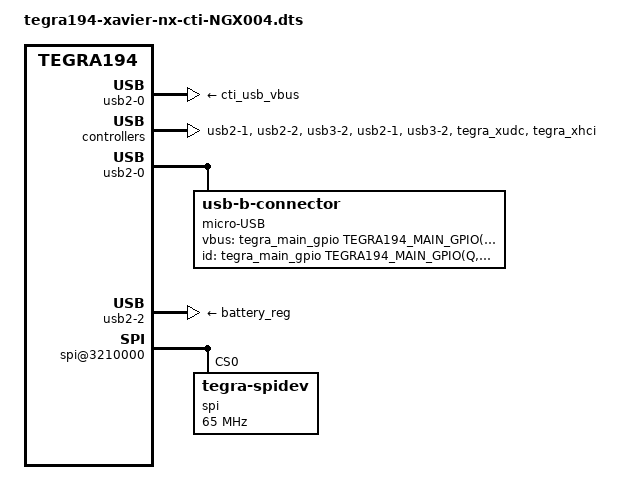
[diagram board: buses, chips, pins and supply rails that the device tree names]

/dts-v1/;
#include "tegra194-xavier-nx-cti-base.dtsi"

/ {
	nvidia,dtsfilename = "tegra194-xavier-nx-cti-NGX004.dts";
	
	
	xusb_padctl@3520000 {
		pads {
			usb2 {
				lanes {
					usb2-0 {
						nvidia,function = "xusb";
						vbus-supply = <&cti_usb_vbus>;
						status = "okay";
					};
					usb2-1 {
						nvidia,function = "xusb";
						status = "okay";
					};
					usb2-2 {
						nvidia,function = "xusb";
						status = "okay";
					};
				};
			};
			usb3 {
				lanes {
					usb3-2 {
						nvidia,function = "xusb";
						status = "okay";
					};
				};
			};
		};
		ports {
			usb2-0 {
				mode = "otg";
				status = "okay";
				usb-role-switch;
				connector {
					compatible = "usb-b-connector", "gpio-usb-b-connector";
		            label = "micro-USB";
                    type = "micro";
                    vbus-gpios = <&tegra_main_gpio TEGRA194_MAIN_GPIO(Z, 1) GPIO_ACTIVE_HIGH>;
					id-gpios = <&tegra_main_gpio TEGRA194_MAIN_GPIO(Q, 1) GPIO_ACTIVE_HIGH>;
				};
			};
			usb2-1 {
				mode = "host";
				status = "okay";
			};
			usb2-2 {
				mode = "host";
				vbus-supply = <&battery_reg>;
				status = "okay";
			};
			usb3-2 {
				nvidia,usb2-companion = <0>;
				status = "okay";
			};
		};
	};
		tegra_xudc: xudc@3550000 {
		phys = <&{/xusb_padctl@3520000/pads/usb2/lanes/usb2-0}>,
				<&{/xusb_padctl@3520000/pads/usb3/lanes/usb3-2}>;
		phy-names = "usb2-0", "usb3-2";
		nvidia,xusb-padctl = <&xusb_padctl>;
		nvidia,boost_cpu_freq = <1200>;
		status = "okay";
	};

	tegra_xhci: xhci@3610000 {
		phys = <&{/xusb_padctl@3520000/pads/usb2/lanes/usb2-0}>,
			<&{/xusb_padctl@3520000/pads/usb2/lanes/usb2-1}>,
			<&{/xusb_padctl@3520000/pads/usb2/lanes/usb2-2}>,
			<&{/xusb_padctl@3520000/pads/usb3/lanes/usb3-2}>;
		phy-names = "usb2-0", "usb2-1", "usb2-2", "usb3-2";
		nvidia,xusb-padctl = <&xusb_padctl>;
		status = "okay";
	};
		
	sdhci@3440000 {
        cd-gpios = <&tegra_aon_gpio TEGRA194_AON_GPIO(CC, 4) 0>;

    };

    mttcan@c310000 {
        status = "okay";
    };
   	
	clocks-init {
		compatible = "nvidia,clocks-config";
		status = "okay";
		disable {
			clocks = <&aon_clks TEGRA194_CLK_PLLAON>,
				<&bpmp_clks TEGRA194_CLK_CAN1>,
				<&bpmp_clks TEGRA194_CLK_CAN2>;
		};
	};
 
    spi@3210000{/*SPI1*/
		status = "okay";
		compatible = "nvidia,tegra186-spi";
		spi@0 {
			compatible = "tegra-spidev";
			reg = <0x0>;
			spi-max-frequency = <65000000>;
				controller-data{
				nvidia,enable-hw-based-cs;
			};
		};
	};

	
	spi@3230000{
		status = "disabled";
	};

};

//sor0
&head1 {
    status = "disabled";
};

//sor1
&head2 {
    status = "disabled";
};

&sor0 {
    status = "disabled";
    nvidia,active-panel = <&sor0_hdmi_display>;
};

&sor0_hdmi_display {
    status = "disabled";
};

&sor0_dp_display {
	status = "disabled";
};

&dpaux0 {
    status = "disabled";
};

&sor1 {
    status = "disabled";
    nvidia,active-panel = <&sor1_hdmi_display>;
};

&sor1_hdmi_display {
    status = "disabled";
};

&dpaux1 {
    status = "disabled";
};

&tegra_cec {
    status = "disabled";
};

